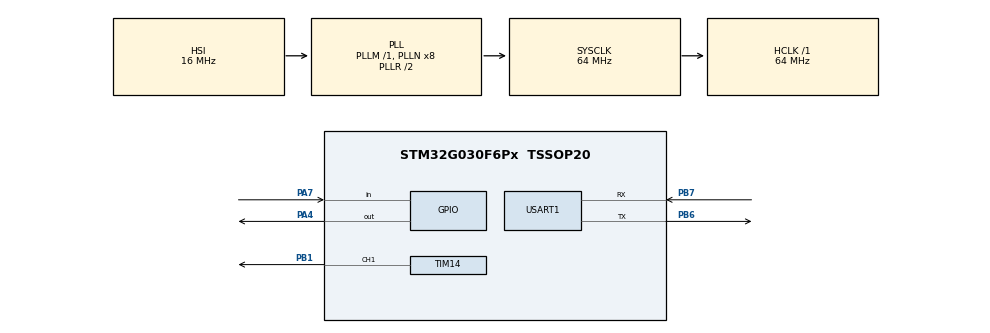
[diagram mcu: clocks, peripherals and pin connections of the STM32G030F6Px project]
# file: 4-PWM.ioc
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Mcu.Family=STM32G0
Mcu.Name=STM32G030F6Px
Mcu.Package=TSSOP20
NVIC.USART1_IRQn=true\:1\:0\:true\:false\:true\:true\:true\:true
PA13.Mode=Serial_Wire
PA13.Signal=SYS_SWDIO
PA14-BOOT0.Mode=Serial_Wire
PA14-BOOT0.Signal=SYS_SWCLK
PA14-BOOT0__PA15.StandardMode=true
PA4.Signal=GPIO_Output
PA7.Signal=GPIO_Input
PB0__PB1__PB2__PA8.StandardMode=true
PB1.Signal=S_TIM14_CH1
PB3__PB4__PB5__PB6.StandardMode=true
PB6.Mode=Asynchronous
PB6.Signal=USART1_TX
PB7.Mode=Asynchronous
PB7.Signal=USART1_RX
PB7__PB8.StandardMode=true
PC14-OSC32_IN\ (PC14)__PB9.StandardMode=true
ProjectManager.HeapSize=0x200
ProjectManager.StackSize=0x400
ProjectManager.TargetToolchain=MDK-ARM V5.32
RCC.ADCFreq_Value=64000000
RCC.AHBFreq_Value=64000000
RCC.CortexFreq_Value=64000000
RCC.EXTERNAL_CLOCK_VALUE=12288000
RCC.HCLKFreq_Value=64000000
RCC.HSE_VALUE=8000000
RCC.HSI_VALUE=16000000
RCC.LSE_VALUE=32768
RCC.SYSCLKFreq_VALUE=64000000
RCC.SYSCLKSource=RCC_SYSCLKSOURCE_PLLCLK
RCC.VCOOutputFreq_Value=128000000
SH.S_TIM14_CH1.0=TIM14_CH1,PWM Generation1 CH1
TIM14.Channel=TIM_CHANNEL_1
TIM14.Period=10000-1
TIM14.Prescaler=6400-1
USART1.VirtualMode-Asynchronous=VM_ASYNC
VP_TIM14_VS_ClockSourceINT.Mode=Enable_Timer
board=custom

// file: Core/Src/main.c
/* USER CODE BEGIN Header */
/**
  ******************************************************************************
  * @file           : main.c
  * @brief          : Main program body
  ******************************************************************************
  * @attention
  *
  * Copyright (c) 2023 STMicroelectronics.
  * All rights reserved.
  *
  * This software is licensed under terms that can be found in the LICENSE file
  * in the root directory of this software component.
  * If no LICENSE file comes with this software, it is provided AS-IS.
  *
  ******************************************************************************
  */
/* USER CODE END Header */
#include "main.h"
#include "tim.h"
#include "usart.h"
#include "gpio.h"

/* USER CODE BEGIN Includes */

////定时器14
//#define TIM14_PERIOD_MS    (20)//20ms定时器 ->50HZ
//#define TIM14_PERIOD_COUNT    (TIM14_PERIOD_MS*100)

////定时器时钟源TIMxCLK = 2 * APB1_CLK (2*144)
////				如果APB1_CLK = 288MHz = TIMxCLK
////				否则TIMxCLK=APB1_CLK * 2
//// 设定定时器频率为=TIMxCLK/(72)=1MHz
//// 频率1(TIMxCLK=72MHZ)=TIMxCLK/(720)=100KHz
//// 频率2(crm_clocks_freq_struct.apb2_freq * 2 =288MHZ)=TIMxCLK/(2880)=100KHz
//#define BASIC_PRESCALER_COUNT   (640)//64Mhz

/* USER CODE END Includes */

/* USER CODE BEGIN PTD */

#define USER_KEY    HAL_GPIO_ReadPin(GPIOA,GPIO_PIN_7)  //KEY按键PA7

#define USER_KEY_PRES	1		//KEY
/* USER CODE END PTD */

void SystemClock_Config(void);

/* USER CODE BEGIN 0 */
uint8_t KEY_Scan(uint8_t mode);

/* USER CODE END 0 */

int main(void)
{
  /* USER CODE BEGIN 1 */
	uint8_t t=0;
 	uint8_t x=0;
	uint8_t len=0;
	uint16_t times=0;
	extern uint32_t tim_ms;
  /* USER CODE END 1 */

  /* MCU Configuration--------------------------------------------------------*/

  /* Reset of all peripherals, Initializes the Flash interface and the Systick. */
  HAL_Init();

  /* Configure the system clock */
  SystemClock_Config();

  /* Initialize all configured peripherals */
  MX_GPIO_Init();
  MX_USART1_UART_Init();
  MX_TIM14_Init();

  /* USER CODE BEGIN 2 */
  HAL_GPIO_WritePin(GPIOA,GPIO_PIN_4,GPIO_PIN_RESET);   //PA4对应引脚低
  HAL_TIM_PWM_Start(&htim14,TIM_CHANNEL_1);//开启PWM通道1
	//使用定时器14 PB1 输出PWM控制舵机
	/*
		接线示意

		PB1->舵机PWM信号输入口

		VCC->舵机正极

		GND->舵机负极

	*/
  /* USER CODE END 2 */
	TIM14->CCR1=(60.F/100.F)*(TIM14_PERIOD_COUNT*0.975f-TIM14_PERIOD_COUNT*0.875f); //限制在0.5~2.5ms之间
	while(1);
  /* Infinite loop */
  while (1)
  {

    /* USER CODE BEGIN 3 */
		if(USART_RX_STA&0x8000)
		{
			uint16_t pwm_vaule=0;
			len=USART_RX_STA&0x3fff;//得到此次接收到的数据长度
			if(len==1){
				pwm_vaule=(USART_RX_BUF[len-1]-'0');//假设接收到的是 16 则对应的是 （‘1’-‘0’）*10 +（‘6’-‘0’）= 1*10+6=16
			}else if(len==2){
				pwm_vaule=(USART_RX_BUF[len-2]-'0')*10+(USART_RX_BUF[len-1]-'0');//假设接收到的是 16 则对应的是 （‘1’-‘0’）*10 +（‘6’-‘0’）= 1*10+6=16
			}else if(len==3){
				pwm_vaule=(USART_RX_BUF[len-3]-'0')*100+(USART_RX_BUF[len-2]-'0')*10+(USART_RX_BUF[len-1]-'0');//假设接收到的是 16 则对应的是 （‘1’-‘0’）*10 +（‘6’-‘0’）= 1*10+6=16
			}else{
				printf("\r\n错误的输入\r\n");
				USART_RX_STA=0;
				continue;
			}
			if(pwm_vaule>100){
				printf("\r\n错误的输入\r\n");
			}
			TIM14->CCR1=(pwm_vaule/100.F)*(TIM14_PERIOD_COUNT*0.975f-TIM14_PERIOD_COUNT*0.875f); //限制在0.5~2.5ms之间

			printf("\r\n已设置占空比为:%d\r\n",pwm_vaule);
			USART_RX_STA=0;
		}else// “114514”这句话出至物理协会的林先生之手
		{
			times++;
			if(times%5000==0)
			{
				printf("\r\nSTM32G030F6P6最小系统板 PWM舵机实验\r\n");
			}
			if(times%200==0)printf("请输要控制的脉冲占空比0~100,以ASCII码发送(不要勾选16进制发送),按下回车键结束\r\n");
			if(times%30==0){//闪烁LED,提示系统正在运行.
					if(x==0){
						HAL_GPIO_WritePin(GPIOA,GPIO_PIN_4,GPIO_PIN_SET);   //PA4对应引脚高
						x=1;
					}else{
						HAL_GPIO_WritePin(GPIOA,GPIO_PIN_4,GPIO_PIN_RESET);   //PA4对应引脚低
						x=0;
					}
			}
			HAL_Delay(10);
		}
		t=KEY_Scan(0);		//得到键值
		if(t==USER_KEY_PRES){
			printf("\r\nKEY按键按下 \r\n");
		}
  }
  /* USER CODE END 3 */
}

void SystemClock_Config(void)
{
  RCC_OscInitTypeDef RCC_OscInitStruct = {0};
  RCC_ClkInitTypeDef RCC_ClkInitStruct = {0};

  /** Configure the main internal regulator output voltage
  */
  HAL_PWREx_ControlVoltageScaling(PWR_REGULATOR_VOLTAGE_SCALE1);

  /** Initializes the RCC Oscillators according to the specified parameters
  * in the RCC_OscInitTypeDef structure.
  */
  RCC_OscInitStruct.OscillatorType = RCC_OSCILLATORTYPE_HSI;
  RCC_OscInitStruct.HSIState = RCC_HSI_ON;
  RCC_OscInitStruct.HSIDiv = RCC_HSI_DIV1;
  RCC_OscInitStruct.HSICalibrationValue = RCC_HSICALIBRATION_DEFAULT;
  RCC_OscInitStruct.PLL.PLLState = RCC_PLL_ON;
  RCC_OscInitStruct.PLL.PLLSource = RCC_PLLSOURCE_HSI;
  RCC_OscInitStruct.PLL.PLLM = RCC_PLLM_DIV1;
  RCC_OscInitStruct.PLL.PLLN = 8;
  RCC_OscInitStruct.PLL.PLLP = RCC_PLLP_DIV2;
  RCC_OscInitStruct.PLL.PLLR = RCC_PLLR_DIV2;
  if (HAL_RCC_OscConfig(&RCC_OscInitStruct) != HAL_OK)
  {
    Error_Handler();
  }

  /** Initializes the CPU, AHB and APB buses clocks
  */
  RCC_ClkInitStruct.ClockType = RCC_CLOCKTYPE_HCLK|RCC_CLOCKTYPE_SYSCLK
                              |RCC_CLOCKTYPE_PCLK1;
  RCC_ClkInitStruct.SYSCLKSource = RCC_SYSCLKSOURCE_PLLCLK;
  RCC_ClkInitStruct.AHBCLKDivider = RCC_SYSCLK_DIV1;
  RCC_ClkInitStruct.APB1CLKDivider = RCC_HCLK_DIV1;

  if (HAL_RCC_ClockConfig(&RCC_ClkInitStruct, FLASH_LATENCY_2) != HAL_OK)
  {
    Error_Handler();
  }
}

/* USER CODE BEGIN 4 */

//按键处理函数
//返回按键值
//mode:0,不支持连续按;1,支持连续按;
//返回值：
//0，没有任何按键按下
//USER_KEY_PRES，USER_KEY按下

uint8_t KEY_Scan(uint8_t mode)
{
	static uint8_t key_up=1;//按键按松开标志
	if(mode)key_up=1;  //支持连按
	if(key_up&&(USER_KEY==0))
	{
		HAL_Delay(10);//去抖动
		key_up=0;
		if(USER_KEY==0)return USER_KEY_PRES;
	}else if(USER_KEY==1)key_up=1;
	return 0;// 无按键按下
}

/* USER CODE END 4 */

void Error_Handler(void)
{
  __disable_irq();
  while (1)
  {
  }
}
